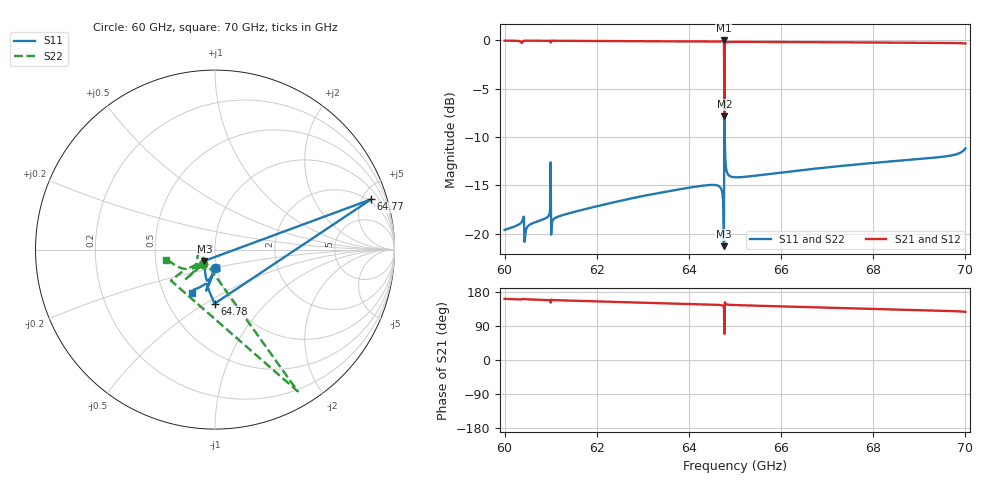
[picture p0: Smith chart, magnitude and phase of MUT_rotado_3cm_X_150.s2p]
! TOUCHSTONE file generated by CST MICROWAVE STUDIO
! Date and time: Sat Feb 17 14:30:07 2024
! Project name: MUT_rotado.cst
! Parameters = {AngX=1.5}
! Header version: 2018
! Port assignment regex: !\s*Touchstone port\s*([0-9]+)\s*=\s*(CST MWS port|CST DS port)\s*([0-9]+|Zmin|Zmax)\s*\(\"(.*)\"\)(\s*mode\s*([0-9]+))?.*
! Touchstone port assignment:
! Touchstone port 1 = CST MWS port 1 ("")
! Touchstone port 2 = CST MWS port 2 ("")
# GHz S MA R 376.7
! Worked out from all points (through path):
!   1001 points, 60 GHz to 70 GHz, reference 376.7 ohm
!   highest |S21| = -0.03 dB at 64.76 GHz (marker M1); lowest = -7.8 dB at 64.77 GHz (marker M2)
!   lowest |S11| = -21.3 dB at 64.76 GHz (marker M3), VSWR 1.19, Z = 332 - j42.1 ohm
!   |S11| at or under -10 dB: start of sweep to 64.77 GHz; 64.78 GHz to end of sweep
!   |S22| runs from -22.1 to -0.8 dB; largest |S21 - S12| = 0.11
!   S11 on the Smith chart (normalised r, x): 60 GHz: 0.98, -0.21; 64.77 GHz: 1.73, +5.87; 64.78 GHz: 0.83, -0.55; 70 GHz: 0.69, -0.36
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60  0.1049 -89.2  0.9943 161.4  0.9944 161.4  0.1049 -128.0
60.35  0.1136 -89.4  0.9803 159.7  0.9918 159.6  0.1153 -130.9
60.46  0.1039 -91.6  0.9937 160.2  0.9942 160.2  0.1057 -127.7
60.54  0.1113 -91.4  0.9938 159.8  0.9938 159.8  0.1113 -129.0
60.91  0.1212 -92.3  0.9926 158.3  0.9926 158.3  0.1212 -131.0
60.95  0.1235 -92.6  0.9922 158.1  0.9923 158.1  0.1236 -131.2
61.06  0.1189 -92.2  0.9928 158.1  0.9931 158.1  0.1189 -131.6
61.67  0.1328 -94.4  0.9912 155.8  0.9911 155.8  0.1328 -134.0
63.34  0.1623 -99.5  0.9867 150.2  0.9867 150.2  0.1625 -140.0
64.54  0.1789 -104.1  0.9838 145.9  0.9839 145.9  0.179 -144.1
64.67  0.1749 -105.5  0.9845 145.1  0.9846 145.1  0.1749 -144.3
64.71  0.1683 -106.9  0.9856 144.5  0.9857 144.6  0.1684 -144.1
64.72  0.1649 -107.6  0.9862 144.3  0.9863 144.3  0.165 -143.9
64.76  0.08642 -133.2  0.9965 139.0  0.9959 139.1  0.08647 -129.4
64.77  0.9138 17.8  0.4051 69.1  0.4048 69.0  0.9146 -59.7
64.78  0.3009 -90.4  0.9528 152.3  0.9547 152.2  0.3002 -144.8
64.82  0.2105 -100.9  0.9772 146.7  0.9779 146.6  0.2104 -145.7
64.83  0.2069 -101.5  0.978 146.4  0.9786 146.4  0.2069 -145.7
65  0.196 -104.0  0.9802 145.0  0.9808 145.0  0.196 -146.0
66.67  0.2162 -109.7  0.9763 139.3  0.9764 139.3  0.2162 -151.8
68.34  0.2362 -114.4  0.9716 133.8  0.9718 133.8  0.2363 -157.9
70  0.2765 -118.1  0.9613 127.0  0.9611 127.0  0.2764 -168.0
